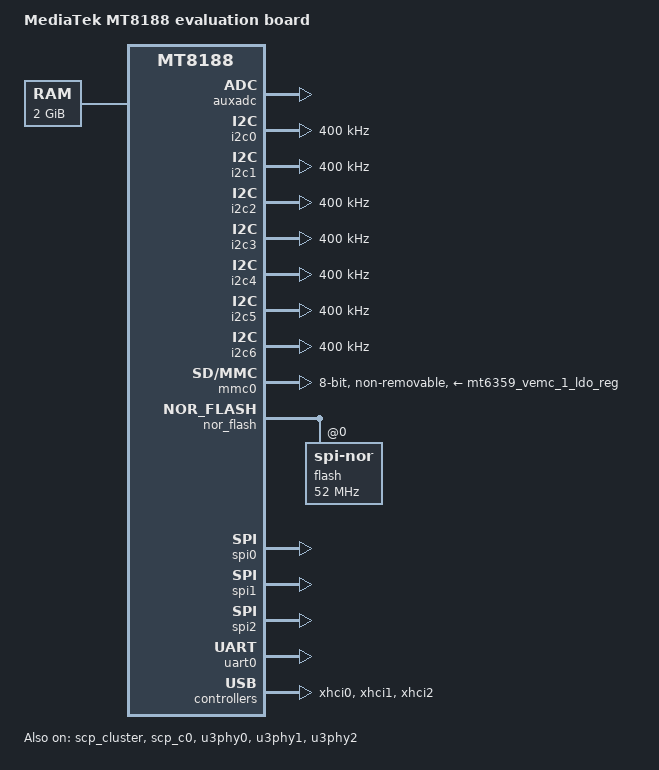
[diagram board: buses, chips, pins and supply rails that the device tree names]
// SPDX-License-Identifier: (GPL-2.0 OR MIT)
/*
 * Copyright (C) 2023 MediaTek Inc.
 */
/dts-v1/;
#include "mt8188.dtsi"
#include "mt6359.dtsi"

/ {
	model = "MediaTek MT8188 evaluation board";
	compatible = "mediatek,mt8188-evb", "mediatek,mt8188";

	aliases {
		serial0 = &uart0;
		i2c0 = &i2c0;
		i2c1 = &i2c1;
		i2c2 = &i2c2;
		i2c3 = &i2c3;
		i2c4 = &i2c4;
		i2c5 = &i2c5;
		i2c6 = &i2c6;
		mmc0 = &mmc0;
	};

	chosen: chosen {
		stdout-path = "serial0:115200n8";
	};

	memory@40000000 {
		device_type = "memory";
		reg = <0 0x40000000 0 0x80000000>;
	};

	reserved_memory: reserved-memory {
		#address-cells = <2>;
		#size-cells = <2>;
		ranges;

		scp_mem_reserved: memory@50000000 {
			compatible = "shared-dma-pool";
			reg = <0 0x50000000 0 0x2900000>;
			no-map;
		};
	};
};

&auxadc {
	status = "okay";
};

&i2c0 {
	pinctrl-names = "default";
	pinctrl-0 = <&i2c0_pins>;
	clock-frequency = <400000>;
	status = "okay";
};

&i2c1 {
	pinctrl-names = "default";
	pinctrl-0 = <&i2c1_pins>;
	clock-frequency = <400000>;
	status = "okay";
};

&i2c2 {
	pinctrl-names = "default";
	pinctrl-0 = <&i2c2_pins>;
	clock-frequency = <400000>;
	status = "okay";
};

&i2c3 {
	pinctrl-names = "default";
	pinctrl-0 = <&i2c3_pins>;
	clock-frequency = <400000>;
	status = "okay";
};

&i2c4 {
	pinctrl-names = "default";
	pinctrl-0 = <&i2c4_pins>;
	clock-frequency = <400000>;
	status = "okay";
};

&i2c5 {
	pinctrl-names = "default";
	pinctrl-0 = <&i2c5_pins>;
	clock-frequency = <400000>;
	status = "okay";
};

&i2c6 {
	pinctrl-names = "default";
	pinctrl-0 = <&i2c6_pins>;
	clock-frequency = <400000>;
	status = "okay";
};

&mmc0 {
	bus-width = <8>;
	hs400-ds-delay = <0x1481b>;
	max-frequency = <200000000>;

	cap-mmc-highspeed;
	mmc-hs200-1_8v;
	mmc-hs400-1_8v;
	supports-cqe;
	cap-mmc-hw-reset;
	no-sdio;
	no-sd;
	non-removable;

	vmmc-supply = <&mt6359_vemc_1_ldo_reg>;
	vqmmc-supply = <&mt6359_vufs_ldo_reg>;

	pinctrl-names = "default", "state_uhs";
	pinctrl-0 = <&mmc0_default_pins>;
	pinctrl-1 = <&mmc0_uhs_pins>;

	status = "okay";
};

&mt6359_vcore_buck_reg {
	regulator-always-on;
};

&mt6359_vgpu11_buck_reg {
	regulator-always-on;
};

&mt6359_vpu_buck_reg {
	regulator-always-on;
};

&mt6359_vrf12_ldo_reg {
	regulator-always-on;
};

&nor_flash {
	pinctrl-names = "default";
	pinctrl-0 = <&nor_pins_default>;
	status = "okay";

	flash@0 {
		compatible = "jedec,spi-nor";
		reg = <0>;
		spi-max-frequency = <52000000>;
	};
};

&pio {
	adsp_uart_pins: adsp-uart-pins {
		pins-tx-rx {
			pinmux = <PINMUX_GPIO35__FUNC_O_ADSP_UTXD0>,
				 <PINMUX_GPIO36__FUNC_I1_ADSP_URXD0>;
		};
	};

	i2c0_pins: i2c0-pins {
		pins-bus {
			pinmux = <PINMUX_GPIO56__FUNC_B1_SDA0>,
				 <PINMUX_GPIO55__FUNC_B1_SCL0>;
			bias-pull-up = <MTK_PULL_SET_RSEL_011>;
		};
	};

	i2c1_pins: i2c1-pins {
		pins-bus {
			pinmux = <PINMUX_GPIO58__FUNC_B1_SDA1>,
				 <PINMUX_GPIO57__FUNC_B1_SCL1>;
			bias-pull-up = <MTK_PULL_SET_RSEL_011>;
		};
	};

	i2c2_pins: i2c2-pins {
		pins-bus {
			pinmux = <PINMUX_GPIO60__FUNC_B1_SDA2>,
				 <PINMUX_GPIO59__FUNC_B1_SCL2>;
			bias-pull-up = <MTK_PULL_SET_RSEL_011>;
		};
	};

	i2c3_pins: i2c3-pins {
		pins-bus {
			pinmux = <PINMUX_GPIO62__FUNC_B1_SDA3>,
				 <PINMUX_GPIO61__FUNC_B1_SCL3>;
			bias-pull-up = <MTK_PULL_SET_RSEL_011>;
		};
	};

	i2c4_pins: i2c4-pins {
		pins-bus {
			pinmux = <PINMUX_GPIO64__FUNC_B1_SDA4>,
				 <PINMUX_GPIO63__FUNC_B1_SCL4>;
			bias-pull-up = <MTK_PULL_SET_RSEL_011>;
		};
	};

	i2c5_pins: i2c5-pins {
		pins-bus {
			pinmux = <PINMUX_GPIO66__FUNC_B1_SDA5>,
				 <PINMUX_GPIO65__FUNC_B1_SCL5>;
			bias-pull-up = <MTK_PULL_SET_RSEL_011>;
		};
	};

	i2c6_pins: i2c6-pins {
		pins-bus {
			pinmux = <PINMUX_GPIO68__FUNC_B1_SDA6>,
				 <PINMUX_GPIO67__FUNC_B1_SCL6>;
			bias-pull-up = <MTK_PULL_SET_RSEL_011>;
		};
	};

	mmc0_default_pins: mmc0-default-pins {
		pins-cmd-dat {
			pinmux = <PINMUX_GPIO161__FUNC_B1_MSDC0_DAT0>,
				 <PINMUX_GPIO160__FUNC_B1_MSDC0_DAT1>,
				 <PINMUX_GPIO159__FUNC_B1_MSDC0_DAT2>,
				 <PINMUX_GPIO158__FUNC_B1_MSDC0_DAT3>,
				 <PINMUX_GPIO154__FUNC_B1_MSDC0_DAT4>,
				 <PINMUX_GPIO153__FUNC_B1_MSDC0_DAT5>,
				 <PINMUX_GPIO152__FUNC_B1_MSDC0_DAT6>,
				 <PINMUX_GPIO151__FUNC_B1_MSDC0_DAT7>,
				 <PINMUX_GPIO156__FUNC_B1_MSDC0_CMD>;
			input-enable;
			drive-strength = <6>;
			bias-pull-up = <MTK_PUPD_SET_R1R0_01>;
		};

		pins-clk {
			pinmux = <PINMUX_GPIO157__FUNC_B1_MSDC0_CLK>;
			drive-strength = <6>;
			bias-pull-down = <MTK_PUPD_SET_R1R0_10>;
		};

		pins-rst {
			pinmux = <PINMUX_GPIO155__FUNC_O_MSDC0_RSTB>;
			drive-strength = <6>;
			bias-pull-up = <MTK_PUPD_SET_R1R0_01>;
		};
	};

	mmc0_uhs_pins: mmc0-uhs-pins {
		pins-cmd-dat {
			pinmux = <PINMUX_GPIO161__FUNC_B1_MSDC0_DAT0>,
				 <PINMUX_GPIO160__FUNC_B1_MSDC0_DAT1>,
				 <PINMUX_GPIO159__FUNC_B1_MSDC0_DAT2>,
				 <PINMUX_GPIO158__FUNC_B1_MSDC0_DAT3>,
				 <PINMUX_GPIO154__FUNC_B1_MSDC0_DAT4>,
				 <PINMUX_GPIO153__FUNC_B1_MSDC0_DAT5>,
				 <PINMUX_GPIO152__FUNC_B1_MSDC0_DAT6>,
				 <PINMUX_GPIO151__FUNC_B1_MSDC0_DAT7>,
				 <PINMUX_GPIO156__FUNC_B1_MSDC0_CMD>;
			input-enable;
			drive-strength = <8>;
			bias-pull-up = <MTK_PUPD_SET_R1R0_01>;
		};

		pins-clk-ds {
			pinmux = <PINMUX_GPIO157__FUNC_B1_MSDC0_CLK>,
				 <PINMUX_GPIO162__FUNC_B0_MSDC0_DSL>;
			drive-strength = <8>;
			bias-pull-down = <MTK_PUPD_SET_R1R0_10>;
		};

		pins-rst {
			pinmux = <PINMUX_GPIO155__FUNC_O_MSDC0_RSTB>;
			drive-strength = <8>;
			bias-pull-up = <MTK_PUPD_SET_R1R0_01>;
		};
	};

	nor_pins_default: nor-pins {
		pins-io-ck {
			pinmux = <PINMUX_GPIO127__FUNC_B0_SPINOR_IO0>,
				 <PINMUX_GPIO125__FUNC_O_SPINOR_CK>,
				 <PINMUX_GPIO128__FUNC_B0_SPINOR_IO1>;
			bias-pull-down;
		};

		pins-io-cs {
			pinmux = <PINMUX_GPIO126__FUNC_O_SPINOR_CS>,
				 <PINMUX_GPIO129__FUNC_B0_SPINOR_IO2>,
				 <PINMUX_GPIO130__FUNC_B0_SPINOR_IO3>;
			bias-pull-up;
		};
	};

	spi0_pins: spi0-pins {
		pins-spi {
			pinmux = <PINMUX_GPIO69__FUNC_O_SPIM0_CSB>,
				 <PINMUX_GPIO70__FUNC_O_SPIM0_CLK>,
				 <PINMUX_GPIO71__FUNC_B0_SPIM0_MOSI>,
				 <PINMUX_GPIO72__FUNC_B0_SPIM0_MISO>;
			bias-disable;
		};
	};

	spi1_pins: spi1-pins {
		pins-spi {
			pinmux = <PINMUX_GPIO75__FUNC_O_SPIM1_CSB>,
				 <PINMUX_GPIO76__FUNC_O_SPIM1_CLK>,
				 <PINMUX_GPIO77__FUNC_B0_SPIM1_MOSI>,
				 <PINMUX_GPIO78__FUNC_B0_SPIM1_MISO>;
			bias-disable;
		};
	};

	spi2_pins: spi2-pins {
		pins-spi {
			pinmux = <PINMUX_GPIO79__FUNC_O_SPIM2_CSB>,
				 <PINMUX_GPIO80__FUNC_O_SPIM2_CLK>,
				 <PINMUX_GPIO81__FUNC_B0_SPIM2_MOSI>,
				 <PINMUX_GPIO82__FUNC_B0_SPIM2_MISO>;
			bias-disable;
		};
	};

	uart0_pins: uart0-pins {
		pins-rx-tx {
			pinmux = <PINMUX_GPIO31__FUNC_O_UTXD0>,
				 <PINMUX_GPIO32__FUNC_I1_URXD0>;
			bias-pull-up;
		};
	};
};

&pmic {
	interrupts-extended = <&pio 222 IRQ_TYPE_LEVEL_HIGH>;
};

&scp_cluster {
	status = "okay";
};

&scp_c0 {
	memory-region = <&scp_mem_reserved>;
	status = "okay";
};

&spi0 {
	pinctrl-names = "default";
	pinctrl-0 = <&spi0_pins>;
	status = "okay";
};

&spi1 {
	pinctrl-names = "default";
	pinctrl-0 = <&spi1_pins>;
	status = "okay";
};

&spi2 {
	pinctrl-names = "default";
	pinctrl-0 = <&spi2_pins>;
	status = "okay";
};

&u3phy0 {
	status = "okay";
};

&u3phy1 {
	status = "okay";
};

&u3phy2 {
	status = "okay";
};

&uart0 {
	pinctrl-names = "default";
	pinctrl-0 = <&uart0_pins>;
	status = "okay";
};

&xhci0 {
	status = "okay";
};

&xhci1 {
	status = "okay";
};

&xhci2 {
	status = "okay";
};
